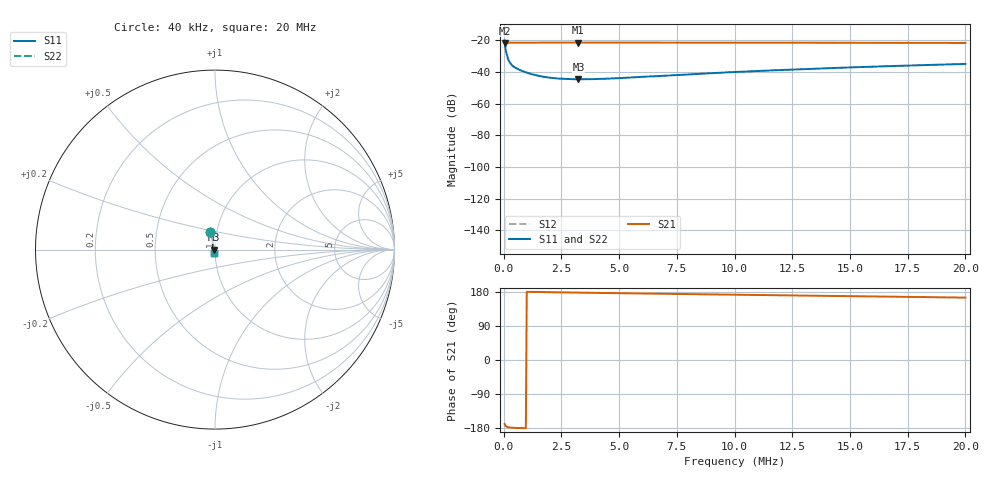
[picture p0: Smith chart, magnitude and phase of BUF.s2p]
!Created with skrf (http://scikit-rf.org).
# Hz S RI R 50.0
!freq ReS11 ImS11 ReS21 ImS21 ReS12 ImS12 ReS22 ImS22
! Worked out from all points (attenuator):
!   500 points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, 40 kHz to 20 MHz, reference 50 ohm
!   highest |S21| = -21.40 dB at 3.2 MHz (marker M1); lowest = -21.7 dB at 40 kHz (marker M2)
!   lowest |S11| = -44.6 dB at 3.24 MHz (marker M3), VSWR 1.01, Z = 49.4 - j0.0421 ohm
!   |S11| at or under -10 dB: start of sweep to end of sweep
!   |S22| runs from -44.6 to -20.0 dB; largest |S21 - S12| = 0.085
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40000  -0.0253 0.0963  -0.081 -0.0166  -2e-14 -4.09e-15  -0.0253 0.0963
80000  -0.0141 0.0508  -0.0835 -0.00876  -8.26e-14 -8.67e-15  -0.0141 0.0508
160000  -0.0116 0.0293  -0.0841 -0.00496  -3.33e-13 -1.97e-14  -0.0117 0.0293
200000  -0.0109 0.0215  -0.0843 -0.00357  -5.21e-13 -2.22e-14  -0.0109 0.0215
240000  -0.0107 0.0189  -0.0843 -0.00308  -7.5e-13 -2.76e-14  -0.0107 0.0189
280000  -0.0104 0.0163  -0.0844 -0.00259  -1.02e-12 -3.16e-14  -0.0104 0.0163
360000  -0.01 0.0131  -0.0845 -0.00193  -1.69e-12 -3.92e-14  -0.01 0.0131
440000  -0.0097 0.011  -0.0845 -0.00148  -2.53e-12 -4.54e-14  -0.0097 0.011
680000  -0.00871 0.00785  -0.0847 -0.00068  -6.05e-12 -5.34e-14  -0.00871 0.00785
880000  -0.00803 0.00638  -0.0848 -0.000251  -1.01e-11 -4.06e-14  -0.00804 0.00638
1200000  -0.00725 0.00461  -0.0849 0.000402  -1.89e-11 6.26e-14  -0.00726 0.0046
1800000  -0.00645 0.00255  -0.085 0.00136  -4.25e-11 5.89e-13  -0.00646 0.00254
2400000  -0.00609 0.00113  -0.0851 0.00218  -7.57e-11 1.73e-12  -0.0061 0.00112
3200000  -0.00589 -0.000355  -0.0851 0.00327  -1.35e-10 4.66e-12  -0.0059 -0.00037
3240000  -0.00588 -0.000426  -0.0851 0.00332  -1.38e-10 4.86e-12  -0.00589 -0.000441
3400000  -0.00586 -0.00071  -0.085 0.00353  -1.52e-10 5.69e-12  -0.00587 -0.000726
4840000  -0.00574 -0.00267  -0.0849 0.00533  -3.07e-10 1.75e-11  -0.00575 -0.00269
6720000  -0.00575 -0.00478  -0.0847 0.00757  -5.91e-10 4.81e-11  -0.00575 -0.00481
1.004e7  -0.0059 -0.00812  -0.084 0.0114  -1.31e-09 1.62e-10  -0.00591 -0.00816
1.336e7  -0.00609 -0.0111  -0.0829 0.0151  -2.29e-09 3.8e-10  -0.0061 -0.0112
1.668e7  -0.00629 -0.014  -0.0817 0.0186  -3.53e-09 7.32e-10  -0.00631 -0.0141
2e7  -0.0065 -0.0168  -0.0802 0.022  -4.99e-09 1.24e-09  -0.00652 -0.0169
